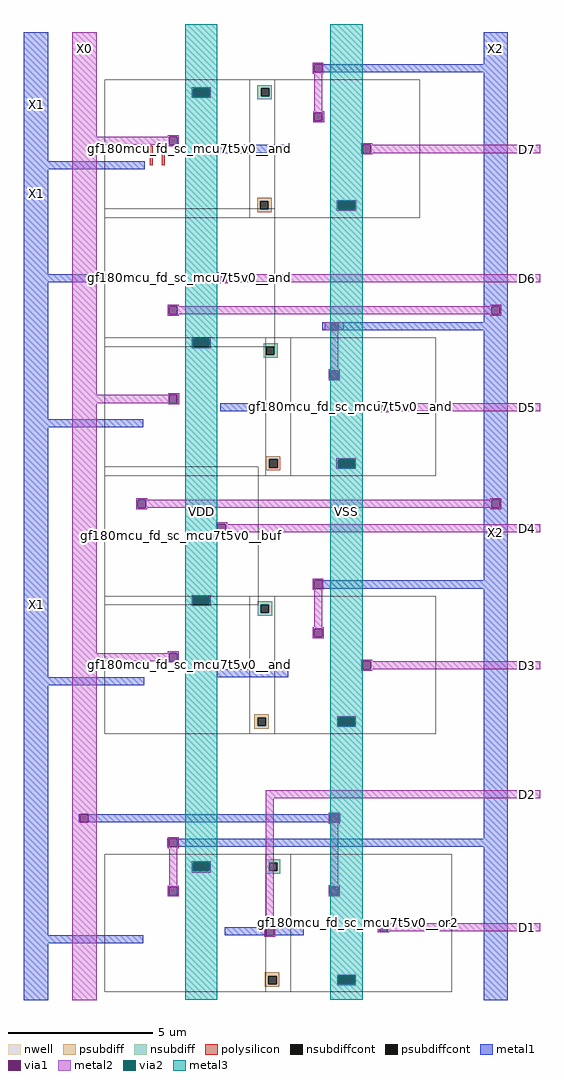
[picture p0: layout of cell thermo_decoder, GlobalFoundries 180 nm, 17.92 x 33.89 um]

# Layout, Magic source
magic
tech gf180mcuD
magscale 1 10
<< nwell >>
rect 1741 4648 1915 4704
rect 1338 3800 1414 3876
<< psubdiff >>
rect 1957 5208 2057 5232
rect 1957 5152 1978 5208
rect 2034 5152 2057 5208
rect 1957 5132 2057 5152
rect 2016 3417 2116 3440
rect 2016 3360 2041 3417
rect 2097 3360 2116 3417
rect 2016 3340 2116 3360
rect 1937 1624 2037 1648
rect 1937 1568 1960 1624
rect 2016 1568 2037 1624
rect 1937 1548 2037 1568
rect 2009 -171 2109 -144
rect 2009 -227 2034 -171
rect 2090 -227 2109 -171
rect 2009 -244 2109 -227
<< nsubdiff >>
rect 1956 5993 2056 6016
rect 1956 5937 1983 5993
rect 2039 5937 2056 5993
rect 1956 5916 2056 5937
rect 2000 4200 2100 4224
rect 2000 4144 2019 4200
rect 2075 4144 2100 4200
rect 2000 4124 2100 4144
rect 1960 2408 2060 2432
rect 1960 2352 1981 2408
rect 2037 2352 2060 2408
rect 1960 2332 2060 2352
rect 2016 616 2116 640
rect 2016 560 2040 616
rect 2096 560 2116 616
rect 2016 540 2116 560
<< psubdiffcont >>
rect 1978 5152 2034 5208
rect 2041 3360 2097 3417
rect 1960 1568 2016 1624
rect 2034 -227 2090 -171
<< nsubdiffcont >>
rect 1983 5937 2039 5993
rect 2019 4144 2075 4200
rect 1981 2352 2037 2408
rect 2040 560 2096 616
<< polysilicon >>
rect 1209 5458 1229 5594
rect 1293 5458 1313 5594
<< metal1 >>
rect 336 5488 504 6384
rect 3528 6160 3696 6384
rect 2340 6104 2352 6160
rect 2408 6104 3696 6160
rect 1681 5544 2150 5600
rect 336 5432 1176 5488
rect 336 4704 504 5432
rect 336 4648 1176 4704
rect 336 3696 504 4648
rect 3528 4480 3696 6104
rect 3528 4424 3584 4480
rect 3640 4424 3696 4480
rect 3528 4368 3696 4424
rect 2408 4364 3696 4368
rect 2408 4312 2466 4364
rect 2518 4312 3696 4364
rect 1700 3752 2278 3808
rect 336 3640 1165 3696
rect 336 1904 504 3640
rect 3528 3136 3696 4312
rect 3528 3080 3584 3136
rect 3640 3080 3696 3136
rect 3528 2576 3696 3080
rect 2340 2520 2352 2576
rect 2408 2520 3696 2576
rect 1680 1904 2173 1960
rect 336 1848 1173 1904
rect 336 112 504 1848
rect 716 896 728 952
rect 784 896 2464 952
rect 2520 896 2532 952
rect 3528 784 3696 2520
rect 1332 728 1344 784
rect 1400 728 3696 784
rect 1729 112 2016 168
rect 2072 112 2279 168
rect 336 56 1164 112
rect 336 -337 504 56
rect 3528 -337 3696 728
<< via1 >>
rect 2352 6104 2408 6160
rect 1512 5936 1624 5992
rect 2352 5768 2408 5824
rect 1344 5600 1400 5656
rect 2688 5544 2744 5600
rect 2520 5152 2632 5208
rect 1686 4648 1742 4704
rect 1344 4424 1400 4480
rect 3584 4424 3640 4480
rect 2466 4312 2518 4364
rect 1512 4200 1624 4256
rect 2464 3976 2520 4032
rect 1344 3808 1400 3864
rect 2800 3752 2856 3808
rect 2520 3360 2632 3416
rect 1126 3080 1182 3136
rect 3584 3080 3640 3136
rect 1680 2912 1736 2968
rect 2352 2520 2408 2576
rect 1512 2408 1624 2464
rect 2352 2184 2408 2240
rect 1344 2016 1400 2072
rect 2688 1960 2744 2016
rect 2520 1568 2632 1624
rect 728 896 784 952
rect 2464 896 2520 952
rect 1344 728 1400 784
rect 1512 560 1624 616
rect 1344 392 1400 448
rect 2464 395 2520 451
rect 2016 112 2072 168
rect 2806 141 2862 197
rect 2520 -224 2632 -168
<< metal2 >>
rect 672 5656 840 6384
rect 2340 6160 2416 6170
rect 2340 6104 2352 6160
rect 2408 6104 2416 6160
rect 2340 6094 2416 6104
rect 1501 5992 1632 6002
rect 1501 5936 1512 5992
rect 1624 5936 1632 5992
rect 1501 5928 1632 5936
rect 2352 5834 2408 6094
rect 2344 5824 2420 5834
rect 2344 5768 2352 5824
rect 2408 5768 2420 5824
rect 2344 5758 2420 5768
rect 1336 5656 1412 5667
rect 672 5600 1344 5656
rect 1400 5600 1412 5656
rect 672 3864 840 5600
rect 1336 5591 1412 5600
rect 2678 5600 2754 5611
rect 2678 5544 2688 5600
rect 2744 5544 3920 5600
rect 2678 5535 2754 5544
rect 2508 5208 2644 5215
rect 2508 5152 2520 5208
rect 2632 5152 2644 5208
rect 2508 5143 2644 5152
rect 1677 4704 1753 4715
rect 1677 4648 1686 4704
rect 1742 4648 3920 4704
rect 1677 4639 1753 4648
rect 1336 4480 1412 4491
rect 3574 4480 3650 4491
rect 1336 4424 1344 4480
rect 1400 4424 3584 4480
rect 3640 4424 3650 4480
rect 1336 4415 1412 4424
rect 3574 4415 3650 4424
rect 2426 4364 2558 4368
rect 2426 4312 2466 4364
rect 2518 4312 2558 4364
rect 1503 4256 1632 4264
rect 1503 4200 1512 4256
rect 1624 4200 1632 4256
rect 1503 4189 1632 4200
rect 2464 4041 2520 4312
rect 2454 4032 2530 4041
rect 2454 3976 2464 4032
rect 2520 3976 2530 4032
rect 2454 3965 2530 3976
rect 1338 3864 1414 3876
rect 672 3808 1344 3864
rect 1400 3808 1414 3864
rect 672 2072 840 3808
rect 1338 3800 1414 3808
rect 2792 3808 2868 3819
rect 2792 3752 2800 3808
rect 2856 3752 3920 3808
rect 2792 3743 2868 3752
rect 2506 3416 2641 3424
rect 2506 3360 2520 3416
rect 2632 3360 2641 3416
rect 2506 3352 2641 3360
rect 1116 3136 1192 3147
rect 3573 3136 3649 3146
rect 1116 3080 1126 3136
rect 1182 3080 3584 3136
rect 3640 3080 3649 3136
rect 1116 3071 1192 3080
rect 3573 3070 3649 3080
rect 1671 2968 1747 2979
rect 1671 2912 1680 2968
rect 1736 2912 3920 2968
rect 1671 2903 1747 2912
rect 2340 2576 2416 2587
rect 2340 2520 2352 2576
rect 2408 2520 2416 2576
rect 2340 2511 2416 2520
rect 1503 2464 1632 2475
rect 1503 2408 1512 2464
rect 1624 2408 1632 2464
rect 1503 2400 1632 2408
rect 2352 2252 2408 2511
rect 2342 2240 2418 2252
rect 2342 2184 2352 2240
rect 2408 2184 2418 2240
rect 2342 2176 2418 2184
rect 1334 2072 1410 2084
rect 672 2016 1344 2072
rect 1400 2016 1410 2072
rect 672 952 840 2016
rect 1334 2008 1410 2016
rect 2680 2016 2756 2026
rect 2680 1960 2688 2016
rect 2744 1960 3920 2016
rect 2680 1950 2756 1960
rect 2512 1624 2641 1633
rect 2512 1568 2520 1624
rect 2632 1568 2641 1624
rect 2512 1559 2641 1568
rect 672 896 728 952
rect 784 896 840 952
rect 672 -337 840 896
rect 2016 1064 3920 1120
rect 1334 784 1410 794
rect 1334 728 1344 784
rect 1400 728 1410 784
rect 1334 718 1410 728
rect 1344 458 1400 718
rect 1501 616 1633 625
rect 1501 560 1512 616
rect 1624 560 1633 616
rect 1501 547 1633 560
rect 1334 448 1410 458
rect 1334 392 1344 448
rect 1400 392 1410 448
rect 1334 382 1410 392
rect 2016 178 2072 1064
rect 2453 952 2529 962
rect 2453 896 2464 952
rect 2520 896 2529 952
rect 2453 886 2529 896
rect 2464 461 2520 886
rect 2454 451 2530 461
rect 2454 395 2464 451
rect 2520 395 2530 451
rect 2454 385 2530 395
rect 2794 197 2874 210
rect 2005 168 2081 178
rect 2005 112 2016 168
rect 2072 112 2081 168
rect 2794 141 2806 197
rect 2862 141 3920 197
rect 2794 134 2874 141
rect 2005 102 2081 112
rect 2512 -168 2641 -160
rect 2512 -224 2520 -168
rect 2632 -224 2641 -168
rect 2512 -233 2641 -224
<< via2 >>
rect 1512 5936 1624 5992
rect 2520 5152 2632 5208
rect 1512 4200 1624 4256
rect 2520 3360 2632 3416
rect 1512 2408 1624 2464
rect 2520 1568 2632 1624
rect 1512 560 1624 616
rect 2520 -224 2632 -168
<< metal3 >>
rect 1456 5992 1680 6440
rect 1456 5936 1512 5992
rect 1624 5936 1680 5992
rect 1456 4256 1680 5936
rect 1456 4200 1512 4256
rect 1624 4200 1680 4256
rect 1456 2464 1680 4200
rect 1456 2408 1512 2464
rect 1624 2408 1680 2464
rect 1456 616 1680 2408
rect 1456 560 1512 616
rect 1624 560 1680 616
rect 1456 -336 1680 560
rect 2464 5208 2688 6440
rect 2464 5152 2520 5208
rect 2632 5152 2688 5208
rect 2464 3416 2688 5152
rect 2464 3360 2520 3416
rect 2632 3360 2688 3416
rect 2464 1624 2688 3360
rect 2464 1568 2520 1624
rect 2632 1568 2688 1624
rect 2464 -168 2688 1568
rect 2464 -224 2520 -168
rect 2632 -224 2688 -168
rect 2464 -336 2688 -224
use gf180mcu_fd_sc_mcu7t5v0__and2_2  gf180mcu_fd_sc_mcu7t5v0__and2_2_0 ~/eda/unic-cass/envs/gf180mcu-env/share/pdk/gf180mcuD/libs.ref/gf180mcu_fd_sc_mcu7t5v0/mag
transform 1 0 982 0 1 5182
box -86 -86 1094 870
use gf180mcu_fd_sc_mcu7t5v0__and2_2  gf180mcu_fd_sc_mcu7t5v0__and2_2_1
transform 1 0 982 0 -1 5070
box -86 -86 1094 870
use gf180mcu_fd_sc_mcu7t5v0__and2_2  gf180mcu_fd_sc_mcu7t5v0__and2_2_2
transform 1 0 1990 0 1 5182
box -86 -86 1094 870
use gf180mcu_fd_sc_mcu7t5v0__and2_2  gf180mcu_fd_sc_mcu7t5v0__and2_2_3
transform 1 0 982 0 1 1598
box -86 -86 1094 870
use gf180mcu_fd_sc_mcu7t5v0__and2_2  gf180mcu_fd_sc_mcu7t5v0__and2_2_4
transform 1 0 2102 0 1 3390
box -86 -86 1094 870
use gf180mcu_fd_sc_mcu7t5v0__buf_2  gf180mcu_fd_sc_mcu7t5v0__buf_2_0 ~/eda/unic-cass/envs/gf180mcu-env/share/pdk/gf180mcuD/libs.ref/gf180mcu_fd_sc_mcu7t5v0/mag
transform 1 0 982 0 -1 3278
box -86 -86 982 870
use gf180mcu_fd_sc_mcu7t5v0__or2_2  gf180mcu_fd_sc_mcu7t5v0__or2_2_0 ~/eda/unic-cass/envs/gf180mcu-env/share/pdk/gf180mcuD/libs.ref/gf180mcu_fd_sc_mcu7t5v0/mag
transform 1 0 2102 0 1 -194
box -86 -86 1206 870
use gf180mcu_fd_sc_mcu7t5v0__or2_2  gf180mcu_fd_sc_mcu7t5v0__or2_2_1
transform 1 0 982 0 1 3390
box -86 -86 1206 870
use gf180mcu_fd_sc_mcu7t5v0__or2_2  gf180mcu_fd_sc_mcu7t5v0__or2_2_2
transform 1 0 1990 0 1 1598
box -86 -86 1206 870
use gf180mcu_fd_sc_mcu7t5v0__or2_2  gf180mcu_fd_sc_mcu7t5v0__or2_2_4
transform 1 0 982 0 1 -194
box -86 -86 1206 870
<< labels >>
flabel metal2 672 6160 840 6384 1 FreeSans 3200 0 0 0 X0
port 1 n
flabel metal1 336 5152 504 5376 1 FreeSans 3200 0 0 0 X1
port 2 n
flabel metal2 3752 5544 3920 5600 1 FreeSans 3200 0 0 0 D7
port 10 n
flabel metal2 3752 4648 3920 4704 1 FreeSans 3200 0 0 0 D6
port 9 n
flabel metal2 3752 3752 3920 3808 1 FreeSans 3200 0 0 0 D5
port 8 n
flabel metal2 3752 2912 3920 2968 1 FreeSans 3200 0 0 0 D4
port 7 n
flabel metal2 3752 1960 3920 2016 1 FreeSans 3200 0 0 0 D3
port 6 n
flabel metal2 3752 1064 3920 1120 1 FreeSans 3200 0 0 0 D2
port 5 n
flabel metal1 3528 6160 3696 6384 1 FreeSans 3200 0 0 0 X2
port 3 n
flabel metal2 3752 141 3920 197 1 FreeSans 3200 0 0 0 D1
port 4 n
rlabel metal2 672 -337 840 6160 1 X0
port 1 n
rlabel metal1 336 5376 504 6384 1 X1
port 2 n
rlabel metal1 336 -337 504 5152 1 X1
port 2 n
rlabel metal1 3528 -337 3696 6160 1 X2
port 3 n
flabel metal3 1456 -336 1680 6440 1 FreeSans 3200 0 0 0 VDD
port 11 n
flabel metal3 2464 -336 2688 6440 1 FreeSans 3200 0 0 0 VSS
port 12 n
<< end >>
